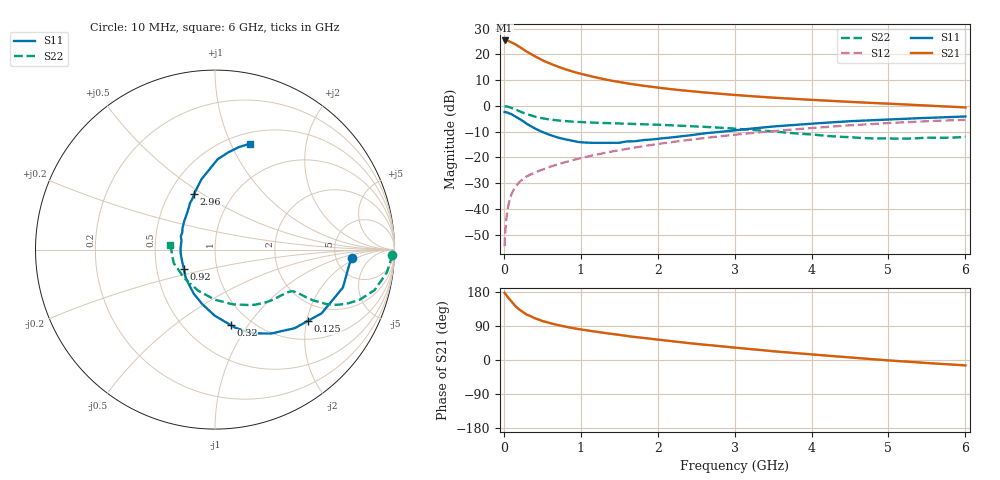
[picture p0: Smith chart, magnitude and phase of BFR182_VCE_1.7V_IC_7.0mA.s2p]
! Infineon Technologies  Discrete & RF Semiconductors
! BFR182
! VCE =  1.7 V,  IC =  7.0 mA
! Common Emitter S-Parameters:  Nov 2015
# GHz  S  MA  R  50
!  f  S11  S21  S12  S22
! GHz  MAG  ANG  MAG  ANG  MAG  ANG  MAG  ANG
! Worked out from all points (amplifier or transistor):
!   210 points, 10 MHz to 6 GHz, reference 50 ohm
!   highest |S21| = 25.4 dB at 10 MHz (marker M1)
!   |S21| within 3 dB of that: start of sweep to 228.8 MHz
!   unconditionally stable (mu >= 1): 880.6 MHz to 2.759 GHz
!   at 185 MHz: K = 0.42, MSG = 26.7 dB, |S12| = -30.1 dB
!   at 1.52 GHz: K = 1.06, MAG = 11.6 dB, |S12| = -17.1 dB
!   at 6 GHz: K = 0.89, MSG = 2.4 dB, |S12| = -5.4 dB
!   S11 on the Smith chart (normalised r, x): 10 MHz: 7.11, -1.54; 125 MHz: 1.47, -2.04; 320 MHz: 0.81, -0.83; 920 MHz: 0.69, -0.16; 2.96 GHz: 0.66, +0.46; 6 GHz: 0.62, +1.19
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0.01  0.7634 -3.4  18.58 177.2  0.0019 92.9  0.986 -1.6
0.05  0.7434 -16.5  18.43 166.2  0.0101 81.5  0.966 -7.6
0.1  0.6919 -30.9  17.1 153.8  0.0195 75.6  0.9177 -14.2
0.125  0.6531 -37.4  16.3 148.1  0.0232 72.2  0.8842 -16.6
0.15  0.6236 -44.6  15.67 141.9  0.0269 69.7  0.8523 -19.2
0.2  0.5622 -56.3  14.08 133.2  0.033 66.8  0.7892 -22.6
0.26  0.4949 -68.3  12.25 124.5  0.0394 64.0  0.7267 -25.0
0.3  0.4474 -75.8  11.24 119.5  0.043 63.4  0.6901 -26.1
0.32  0.4295 -78.3  10.82 118.0  0.0446 63.1  0.676 -26.3
0.4  0.3678 -90.3  9.226 110.4  0.0508 62.1  0.6199 -27.3
0.5  0.312 -103.1  7.663 102.9  0.0579 62.6  0.5731 -27.6
0.6  0.2731 -115.6  6.594 97.2  0.0659 62.7  0.5442 -27.6
0.7  0.2434 -126.4  5.777 92.2  0.0734 63.4  0.5219 -27.7
0.92  0.2049 -147.6  4.516 83.4  0.0907 64.3  0.4919 -28.2
1.02  0.1958 -158.0  4.123 80.0  0.0983 64.7  0.4834 -28.8
1.4  0.1923 170.4  3.078 68.8  0.1298 64.5  0.461 -32.1
2.02  0.2317 138.2  2.243 53.4  0.1841 61.8  0.4307 -39.9
2.96  0.331 110.4  1.647 33.4  0.2715 54.5  0.3659 -57.5
3.1  0.3477 107.7  1.589 30.8  0.2849 53.0  0.3528 -60.8
4.1  0.4621 92.4  1.285 13.0  0.3814 42.3  0.2696 -94.2
5.1  0.5535 81.2  1.087 -2.4  0.4726 29.8  0.2317 -141.9
6  0.6226 71.6  0.933 -14.2  0.5365 17.2  0.2496 174.6
